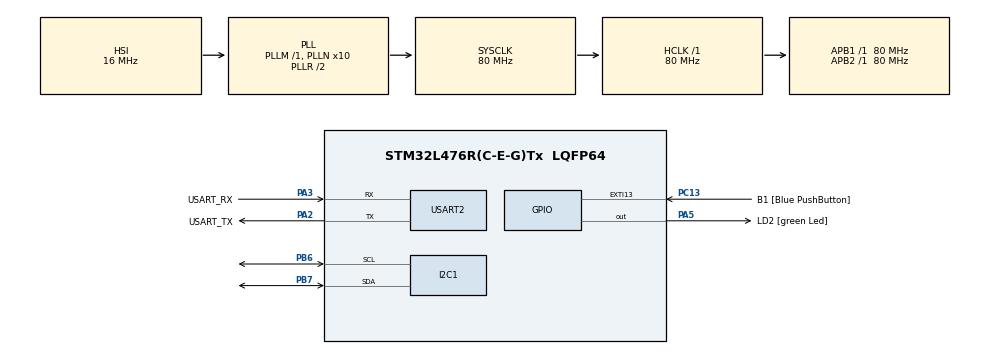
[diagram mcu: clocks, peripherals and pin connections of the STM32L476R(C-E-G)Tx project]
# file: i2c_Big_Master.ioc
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I2C1.OwnAddress=0x08
I2C1.Timeout=0x000083D0
I2C1.Timing=0x10909CEC
Mcu.Family=STM32L4
Mcu.Name=STM32L476R(C-E-G)Tx
Mcu.Package=LQFP64
NVIC.PriorityGroup=NVIC_PRIORITYGROUP_4
PA13\ (JTMS-SWDIO).GPIO_Label=TMS
PA13\ (JTMS-SWDIO).Mode=Serial_Wire
PA13\ (JTMS-SWDIO).Signal=SYS_JTMS-SWDIO
PA14\ (JTCK-SWCLK).GPIO_Label=TCK
PA14\ (JTCK-SWCLK).Mode=Serial_Wire
PA14\ (JTCK-SWCLK).Signal=SYS_JTCK-SWCLK
PA2.GPIO_Label=USART_TX
PA2.GPIO_Mode=GPIO_MODE_AF_PP
PA2.GPIO_PuPd=GPIO_NOPULL
PA2.GPIO_Speed=GPIO_SPEED_FREQ_VERY_HIGH
PA2.Mode=Asynchronous
PA2.Signal=USART2_TX
PA3.GPIO_Label=USART_RX
PA3.GPIO_Mode=GPIO_MODE_AF_PP
PA3.GPIO_PuPd=GPIO_NOPULL
PA3.GPIO_Speed=GPIO_SPEED_FREQ_VERY_HIGH
PA3.Mode=Asynchronous
PA3.Signal=USART2_RX
PA5.GPIO_Label=LD2 [green Led]
PA5.GPIO_ModeDefaultOutputPP=GPIO_MODE_OUTPUT_PP
PA5.GPIO_PuPd=GPIO_NOPULL
PA5.GPIO_Speed=GPIO_SPEED_FREQ_LOW
PA5.Signal=GPIO_Output
PB3\ (JTDO-TRACESWO).GPIO_Label=SWO
PB3\ (JTDO-TRACESWO).Signal=SYS_JTDO-SWO
PB6.Mode=I2C
PB6.Signal=I2C1_SCL
PB7.Mode=I2C
PB7.Signal=I2C1_SDA
PC13.GPIO_Label=B1 [Blue PushButton]
PC13.GPIO_ModeDefaultEXTI=GPIO_MODE_IT_FALLING
PC13.GPIO_PuPd=GPIO_NOPULL
PC13.Signal=GPXTI13
PC14-OSC32_IN\ (PC14).Mode=LSE-External-Oscillator
PC14-OSC32_IN\ (PC14).Signal=RCC_OSC32_IN
PC15-OSC32_OUT\ (PC15).Mode=LSE-External-Oscillator
PC15-OSC32_OUT\ (PC15).Signal=RCC_OSC32_OUT
PH0-OSC_IN\ (PH0).Signal=RCC_OSC_IN
PH1-OSC_OUT\ (PH1).Signal=RCC_OSC_OUT
ProjectManager.HeapSize=0x200
ProjectManager.StackSize=0x400
ProjectManager.TargetToolchain=STM32CubeIDE
RCC.ADCFreq_Value=64000000
RCC.AHBFreq_Value=80000000
RCC.APB1Freq_Value=80000000
RCC.APB1TimFreq_Value=80000000
RCC.APB2Freq_Value=80000000
RCC.APB2TimFreq_Value=80000000
RCC.CortexFreq_Value=80000000
RCC.HCLKFreq_Value=80000000
RCC.HSE_VALUE=8000000
RCC.HSI_VALUE=16000000
RCC.MSI_VALUE=4000000
RCC.PLLN=10
RCC.PLLSourceVirtual=RCC_PLLSOURCE_HSI
RCC.PREFETCH_ENABLE=1
RCC.SYSCLKFreq_VALUE=80000000
RCC.SYSCLKSource=RCC_SYSCLKSOURCE_PLLCLK
RCC.USBFreq_Value=64000000
RCC.VCOOutputFreq_Value=160000000
USART2.VirtualMode-Asynchronous=VM_ASYNC
board=NUCLEO-L476RG

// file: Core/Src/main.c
/* USER CODE BEGIN Header */
/**
  ******************************************************************************
  * @file           : main.c
  * @brief          : Main program body
  ******************************************************************************
  * @attention
  *
  * <h2><center>&copy; Copyright (c) 2020 STMicroelectronics.
  * All rights reserved.</center></h2>
  *
  * This software component is licensed by ST under BSD 3-Clause license,
  * the "License"; You may not use this file except in compliance with the
  * License. You may obtain a copy of the License at:
  *                        opensource.org/licenses/BSD-3-Clause
  *
  ******************************************************************************
  */
/* USER CODE END Header */
#include "main.h"

I2C_HandleTypeDef hi2c1;

UART_HandleTypeDef huart2;

/* USER CODE BEGIN PV */
HAL_StatusTypeDef rel;
char str[30];// String zum Konvertieren
uint16_t Adresse;
uint8_t TxData;
uint8_t RxData;
/* USER CODE END PV */

void SystemClock_Config(void);
static void MX_GPIO_Init(void);
static void MX_USART2_UART_Init(void);
static void MX_I2C1_Init(void);

int main(void)
{

  /* MCU Configuration--------------------------------------------------------*/

  /* Reset of all peripherals, Initializes the Flash interface and the Systick. */
  HAL_Init();

  /* Configure the system clock */
  SystemClock_Config();

  /* Initialize all configured peripherals */
  MX_GPIO_Init();
  MX_USART2_UART_Init();
  MX_I2C1_Init();
  /* USER CODE BEGIN 2 */
  Adresse=0x09<<1;
  int errorsTX=0;
  int errorsRX=0;
  /* USER CODE END 2 */

  /* Infinite loop */
  /* USER CODE BEGIN WHILE */
  while (1)
  {

	  TxData++;
	  	  rel=HAL_I2C_Master_Transmit(&hi2c1, (uint16_t)Adresse, &TxData, 1, 10);
	  	  if(rel==HAL_OK){
	  		  HAL_GPIO_TogglePin(LD2_GPIO_Port, LD2_Pin);
	  		  sprintf(str, "MTx %8d\r\n", TxData);
	  		  HAL_UART_Transmit(&huart2, (uint8_t*)(&str),14, 100);
	  		errorsTX=0;
	  	  }else{
	  		errorsTX++;
	  	  }
	  	rel=HAL_I2C_Master_Receive(&hi2c1, (uint16_t)Adresse, &RxData, 1, 10);
		  if(rel==HAL_OK){
			  HAL_GPIO_TogglePin(LD2_GPIO_Port, LD2_Pin);
			  sprintf(str, "MRx %8d\r\n", RxData);
			  HAL_UART_Transmit(&huart2, (uint8_t*)(&str),14, 100);
			  errorsRX=0;
		  }else{
			  errorsRX++;
		  }
		  if(errorsTX>5){
			  HAL_I2C_DeInit(&hi2c1);
			  HAL_I2C_Init(&hi2c1);
			  errorsTX=0;

		  }
		  if(errorsRX>5){
			  HAL_I2C_DeInit(&hi2c1);
			  HAL_I2C_Init(&hi2c1);
			  errorsRX=0;
		  }
		  HAL_Delay(100);
    /* USER CODE END WHILE */

  }
}

void SystemClock_Config(void)
{
  RCC_OscInitTypeDef RCC_OscInitStruct = {0};
  RCC_ClkInitTypeDef RCC_ClkInitStruct = {0};
  RCC_PeriphCLKInitTypeDef PeriphClkInit = {0};

  /** Initializes the RCC Oscillators according to the specified parameters
  * in the RCC_OscInitTypeDef structure.
  */
  RCC_OscInitStruct.OscillatorType = RCC_OSCILLATORTYPE_HSI;
  RCC_OscInitStruct.HSIState = RCC_HSI_ON;
  RCC_OscInitStruct.HSICalibrationValue = RCC_HSICALIBRATION_DEFAULT;
  RCC_OscInitStruct.PLL.PLLState = RCC_PLL_ON;
  RCC_OscInitStruct.PLL.PLLSource = RCC_PLLSOURCE_HSI;
  RCC_OscInitStruct.PLL.PLLM = 1;
  RCC_OscInitStruct.PLL.PLLN = 10;
  RCC_OscInitStruct.PLL.PLLP = RCC_PLLP_DIV7;
  RCC_OscInitStruct.PLL.PLLQ = RCC_PLLQ_DIV2;
  RCC_OscInitStruct.PLL.PLLR = RCC_PLLR_DIV2;
  if (HAL_RCC_OscConfig(&RCC_OscInitStruct) != HAL_OK)
  {
    Error_Handler();
  }
  /** Initializes the CPU, AHB and APB buses clocks
  */
  RCC_ClkInitStruct.ClockType = RCC_CLOCKTYPE_HCLK|RCC_CLOCKTYPE_SYSCLK
                              |RCC_CLOCKTYPE_PCLK1|RCC_CLOCKTYPE_PCLK2;
  RCC_ClkInitStruct.SYSCLKSource = RCC_SYSCLKSOURCE_PLLCLK;
  RCC_ClkInitStruct.AHBCLKDivider = RCC_SYSCLK_DIV1;
  RCC_ClkInitStruct.APB1CLKDivider = RCC_HCLK_DIV1;
  RCC_ClkInitStruct.APB2CLKDivider = RCC_HCLK_DIV1;

  if (HAL_RCC_ClockConfig(&RCC_ClkInitStruct, FLASH_LATENCY_4) != HAL_OK)
  {
    Error_Handler();
  }
  PeriphClkInit.PeriphClockSelection = RCC_PERIPHCLK_USART2|RCC_PERIPHCLK_I2C1;
  PeriphClkInit.Usart2ClockSelection = RCC_USART2CLKSOURCE_PCLK1;
  PeriphClkInit.I2c1ClockSelection = RCC_I2C1CLKSOURCE_PCLK1;
  if (HAL_RCCEx_PeriphCLKConfig(&PeriphClkInit) != HAL_OK)
  {
    Error_Handler();
  }
  /** Configure the main internal regulator output voltage
  */
  if (HAL_PWREx_ControlVoltageScaling(PWR_REGULATOR_VOLTAGE_SCALE1) != HAL_OK)
  {
    Error_Handler();
  }
}

static void MX_I2C1_Init(void)
{

  hi2c1.Instance = I2C1;
  hi2c1.Init.Timing = 0x10909CEC;
  hi2c1.Init.OwnAddress1 = 16;
  hi2c1.Init.AddressingMode = I2C_ADDRESSINGMODE_7BIT;
  hi2c1.Init.DualAddressMode = I2C_DUALADDRESS_DISABLE;
  hi2c1.Init.OwnAddress2 = 0;
  hi2c1.Init.OwnAddress2Masks = I2C_OA2_NOMASK;
  hi2c1.Init.GeneralCallMode = I2C_GENERALCALL_DISABLE;
  hi2c1.Init.NoStretchMode = I2C_NOSTRETCH_DISABLE;
  if (HAL_I2C_Init(&hi2c1) != HAL_OK)
  {
    Error_Handler();
  }
  /** Configure Analogue filter
  */
  if (HAL_I2CEx_ConfigAnalogFilter(&hi2c1, I2C_ANALOGFILTER_ENABLE) != HAL_OK)
  {
    Error_Handler();
  }
  /** Configure Digital filter
  */
  if (HAL_I2CEx_ConfigDigitalFilter(&hi2c1, 0) != HAL_OK)
  {
    Error_Handler();
  }

}

static void MX_USART2_UART_Init(void)
{

  huart2.Instance = USART2;
  huart2.Init.BaudRate = 115200;
  huart2.Init.WordLength = UART_WORDLENGTH_8B;
  huart2.Init.StopBits = UART_STOPBITS_1;
  huart2.Init.Parity = UART_PARITY_NONE;
  huart2.Init.Mode = UART_MODE_TX_RX;
  huart2.Init.HwFlowCtl = UART_HWCONTROL_NONE;
  huart2.Init.OverSampling = UART_OVERSAMPLING_16;
  huart2.Init.OneBitSampling = UART_ONE_BIT_SAMPLE_DISABLE;
  huart2.AdvancedInit.AdvFeatureInit = UART_ADVFEATURE_NO_INIT;
  if (HAL_UART_Init(&huart2) != HAL_OK)
  {
    Error_Handler();
  }

}

static void MX_GPIO_Init(void)
{
  GPIO_InitTypeDef GPIO_InitStruct = {0};

  /* GPIO Ports Clock Enable */
  __HAL_RCC_GPIOC_CLK_ENABLE();
  __HAL_RCC_GPIOH_CLK_ENABLE();
  __HAL_RCC_GPIOA_CLK_ENABLE();
  __HAL_RCC_GPIOB_CLK_ENABLE();

  /*Configure GPIO pin Output Level */
  HAL_GPIO_WritePin(LD2_GPIO_Port, LD2_Pin, GPIO_PIN_RESET);

  /*Configure GPIO pin : B1_Pin */
  GPIO_InitStruct.Pin = B1_Pin;
  GPIO_InitStruct.Mode = GPIO_MODE_IT_FALLING;
  GPIO_InitStruct.Pull = GPIO_NOPULL;
  HAL_GPIO_Init(B1_GPIO_Port, &GPIO_InitStruct);

  /*Configure GPIO pin : LD2_Pin */
  GPIO_InitStruct.Pin = LD2_Pin;
  GPIO_InitStruct.Mode = GPIO_MODE_OUTPUT_PP;
  GPIO_InitStruct.Pull = GPIO_NOPULL;
  GPIO_InitStruct.Speed = GPIO_SPEED_FREQ_LOW;
  HAL_GPIO_Init(LD2_GPIO_Port, &GPIO_InitStruct);

}

void Error_Handler(void)
{
  __disable_irq();
  while (1)
  {
  }
}

/************************ (C) COPYRIGHT STMicroelectronics *****END OF FILE****/
